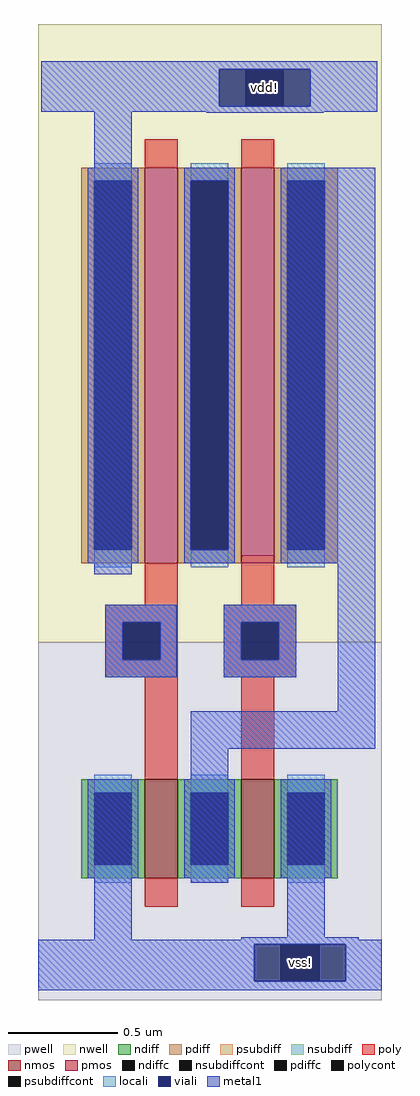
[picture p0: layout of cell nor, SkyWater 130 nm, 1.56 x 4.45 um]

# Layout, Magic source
magic
tech sky130A
magscale 1 2
<< nwell >>
rect -17 306 296 869
<< pwell >>
rect -17 -20 296 306
<< psubdiff >>
rect 180 -3 204 31
rect 239 -3 263 31
<< nsubdiff >>
rect 148 794 172 828
rect 206 794 231 828
<< psubdiffcont >>
rect 204 -3 239 31
<< nsubdiffcont >>
rect 172 794 206 828
<< poly >>
rect 80 340 110 375
rect 168 340 198 385
rect 44 324 110 340
rect 44 290 60 324
rect 94 290 110 324
rect 44 274 110 290
rect 152 324 218 340
rect 152 290 168 324
rect 202 290 218 324
rect 152 274 218 290
rect 80 202 110 274
rect 168 202 198 274
<< polycont >>
rect 60 290 94 324
rect 168 290 202 324
<< locali >>
rect 44 324 109 340
rect 44 290 60 324
rect 94 290 109 324
rect 44 274 109 290
rect 152 324 218 340
rect 152 290 168 324
rect 202 290 218 324
rect 152 274 218 290
<< viali >>
rect 148 794 172 828
rect 172 794 206 828
rect 206 794 231 828
rect 60 290 94 324
rect 168 290 202 324
rect 180 -3 204 31
rect 204 -3 239 31
rect 239 -3 263 31
<< metal1 >>
rect -14 828 292 835
rect -14 794 148 828
rect 231 794 292 828
rect -14 789 292 794
rect 34 368 68 789
rect 136 788 243 789
rect 204 378 290 738
rect 44 324 109 340
rect 44 290 60 324
rect 94 290 109 324
rect 44 274 109 290
rect 152 324 218 340
rect 152 290 168 324
rect 202 290 218 324
rect 152 274 218 290
rect 256 243 290 378
rect 122 209 290 243
rect 34 35 68 181
rect 122 87 156 209
rect 210 37 244 181
rect 168 35 275 37
rect -17 31 296 35
rect -17 -3 180 31
rect 263 -3 296 31
rect -17 -11 296 -3
use sky130_fd_pr__nfet_01v8_NNQ2PV  sky130_fd_pr__nfet_01v8_NNQ2PV_1
transform 1 0 183 0 1 136
box -73 -71 73 71
use sky130_fd_pr__nfet_01v8_NNQ2PV  sky130_fd_pr__nfet_01v8_NNQ2PV_0
transform 1 0 95 0 1 136
box -73 -71 73 71
use sky130_fd_pr__pfet_01v8_5CNMEE  sky130_fd_pr__pfet_01v8_5CNMEE_1
transform 1 0 183 0 1 558
box -109 -242 109 242
use sky130_fd_pr__pfet_01v8_5CNMEE  sky130_fd_pr__pfet_01v8_5CNMEE_0
transform 1 0 95 0 1 558
box -109 -242 109 242
<< labels >>
rlabel nwell 172 794 206 828 1 vdd!
rlabel pwell 180 -3 263 31 1 vss!
<< end >>

# cell sky130_fd_pr__nfet_01v8_NNQ2PV: kit device sky130_fd_pr__nfet_01v8, w 0.450 l 0.150 m 1 nf 1 diffcov 100 polycov 100 guard 0 glc 0 grc 0 gtc 0 gbc 0 tbcov 100 rlcov 100 topc 0 botc 0 poverlap 0 doverlap 1 lmin 0.15 wmin 0.42 compatible {sky130_fd_pr__nfet_01v8 sky130_fd_pr__nfet_01v8_lvt sky130_fd_bs_flash__special_sonosfet_star sky130_fd_pr__nfet_g5v0d10v5 sky130_fd_pr__nfet_05v0_nvt} full_metal 0 viasrc 100 viadrn 100 viagate 100 viagb 0 viagr 0 viagl 0 viagt 0

# cell sky130_fd_pr__pfet_01v8_5CNMEE: kit device sky130_fd_pr__pfet_01v8, w 1.8 l 0.15 m 1 nf 1 diffcov 100 polycov 100 guard 0 glc 0 grc 0 gtc 0 gbc 0 tbcov 100 rlcov 100 topc 0 botc 0 poverlap 0 doverlap 1 lmin 0.15 wmin 0.42 compatible {sky130_fd_pr__pfet_01v8 sky130_fd_pr__pfet_01v8_lvt sky130_fd_pr__pfet_01v8_hvt sky130_fd_pr__pfet_g5v0d10v5} full_metal 0 viasrc 100 viadrn 100 viagate 100 viagb 0 viagr 0 viagl 0 viagt 0
